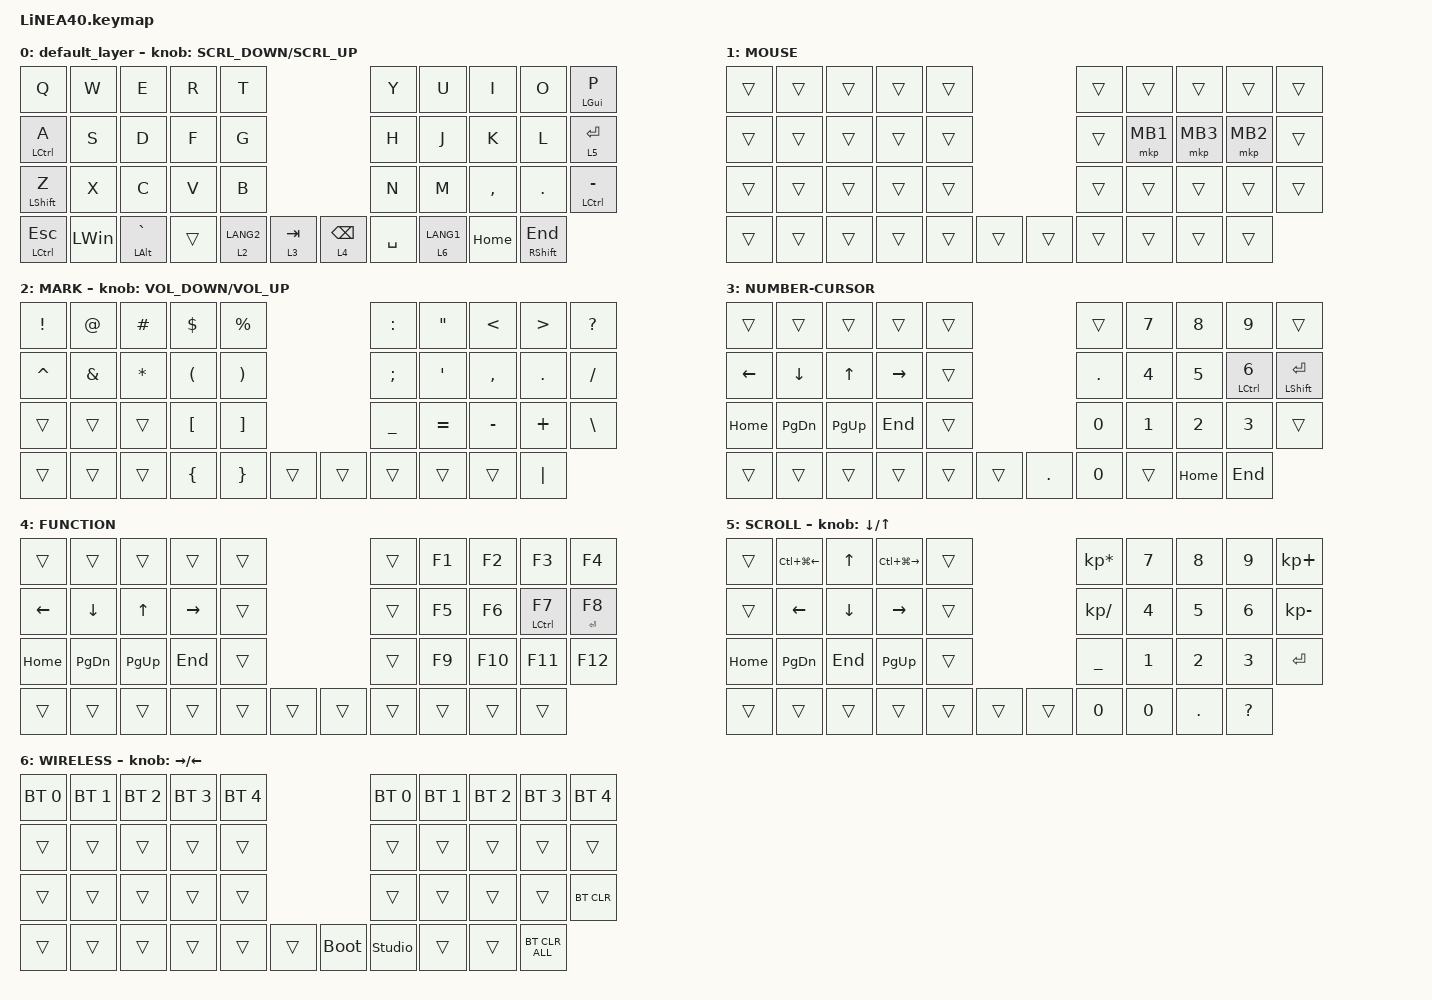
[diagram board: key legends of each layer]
#define ZMK_POINTING_DEFAULT_SCRL_VAL 150

#include <dt-bindings/zmk/input_transform.h>
#include <input/processors.dtsi>
#include <zephyr/dt-bindings/input/input-event-codes.h>
#include <behaviors.dtsi>
#include <dt-bindings/zmk/bt.h>
#include <dt-bindings/zmk/keys.h>
#include <dt-bindings/zmk/pointing.h>

#define MOUSE 1
#define MARK 2
#define CURSOR 3
#define FUNCTION 4
#define SCROLL 5
#define WIRELESS 6

//mouse cursol

&mmv {
    delay-ms = <20>;
    trigger-period-ms = <5>;
    time-to-max-speed-ms = <100>;
    acceleration-exponent = <2>;
};

//mouse scroll

&msc {
    delay-ms = <3>;
    trigger-period-ms = <3>;
    time-to-max-speed-ms = <100>;
    acceleration-exponent = <0>;
};

/ {
    input_processors {
        zip_wheel_scaler: zip_wheel_scaler {
            compatible = "zmk,input-processor-scaler";
            #input-processor-cells = <2>;
            type = <INPUT_EV_REL>;
            codes = <INPUT_REL_WHEEL>;
            track-remainders;
        };
    };
};

&msc_input_listener {
    speed_up {
        layers = <FUNCTION>;
        input-processors = <&zip_wheel_scaler 3 1>; //スクロールを3倍速にする
    };
};

&trackball_listener {
    scroller {
        layers = <SCROLL>;
        input-processors =
            <&zip_xy_transform INPUT_TRANSFORM_Y_INVERT>,
            //スクロール方向を逆転,,,,,,,,,,,,,,,
            <&zip_xy_to_scroll_mapper>;
    };
};

/ {
    combos {
        compatible = "zmk,combos";

        DeleteKey {
            bindings = <&kp DEL>;
            key-positions = <7 8>;
        };

        InsertKey {
            bindings = <&kp INS>;
            key-positions = <6 7>;
        };

        LeftClick {
            bindings = <&mkp MB1>;
            key-positions = <17 16>;
        };

        RightClick {
            bindings = <&mkp MB2>;
            key-positions = <18 17>;
        };

        CenterClick {
            bindings = <&mkp MB3>;
            key-positions = <16 18>;
        };

        Zenkaku {
            bindings = <&kp LANGUAGE_2>;
            key-positions = <12 11>;
        };

        Hankaku {
            bindings = <&kp LANGUAGE_1>;
            key-positions = <12 13>;
        };

        Escape {
            bindings = <&kp ESCAPE>;
            key-positions = <0 1>;
        };
    };

    behaviors {
        re_kp: sensor_rotate_kp {
            compatible = "zmk,behavior-sensor-rotate-var";
            #sensor-binding-cells = <2>;
            bindings = <&kp>, <&kp>;
        };

        mouse_scrl: mouse_wheel_scrl {
            compatible = "zmk,behavior-sensor-rotate-var";
            #sensor-binding-cells = <2>;
            bindings = <&msc>, <&msc>;

            tap-ms = <20>;
        };

        kakko: kakko {
            compatible = "zmk,behavior-hold-tap";
            label = "KAKKO";
            bindings = <&macreoKakko>, <&kp>;

            #binding-cells = <2>;
            tapping-term-ms = <300>;
        };

        singleQuote: singleQuote {
            compatible = "zmk,behavior-hold-tap";
            label = "SINGLEQUOTE";
            bindings = <&macroSingleQuote>, <&kp>;

            #binding-cells = <2>;
            tapping-term-ms = <300>;
        };

        doubleQuote: doubleQuote {
            compatible = "zmk,behavior-hold-tap";
            label = "DOUBLEQUOTE";
            bindings = <&macroDoubleQuote>, <&kp>;

            #binding-cells = <2>;
            tapping-term-ms = <300>;
        };
    };

    macros {
        macreoKakko: macreoKakko {
            compatible = "zmk,behavior-macro";
            #binding-cells = <0>;
            bindings = <&kp LEFT_PARENTHESIS &kp RIGHT_PARENTHESIS &kp LEFT>;
            label = "MACREOKAKKO";
        };

        macroSingleQuote: macroSingleQuote {
            compatible = "zmk,behavior-macro";
            #binding-cells = <0>;
            bindings = <&kp SINGLE_QUOTE &kp SINGLE_QUOTE &kp LEFT>;
            label = "MACROSINGLEQUOTE";
        };

        macroDoubleQuote: macroDoubleQuote {
            compatible = "zmk,behavior-macro";
            #binding-cells = <0>;
            bindings = <&kp DOUBLE_QUOTES &kp DOUBLE_QUOTES &kp LEFT>;
            label = "MACRODOUBLEQUOTE";
        };
    };

    keymap {
        compatible = "zmk,keymap";

        default_layer {
            bindings = <
&kp Q          &kp W         &kp E               &kp R   &kp T                                      &kp Y      &kp U  &kp I        &kp O     &mt LEFT_GUI P
&mt LCTRL A    &kp S         &kp D               &kp F   &kp G                                      &kp H      &kp J  &kp K        &kp L     &lt 5 ENTER
&mt LSHFT Z    &kp X         &kp C               &kp V   &kp B                                      &kp N      &kp M  &kp COMMA    &kp DOT   &mt LCTRL MINUS
&mt LCTRL ESC  &kp LEFT_WIN  &mt LEFT_ALT GRAVE  &trans  &lt 2 LANG2  &lt 3 TAB    &lt 4 BACKSPACE  &kp SPACE         &lt 6 LANG1  &kp HOME  &mt RIGHT_SHIFT END
            >;

            sensor-bindings = <&mouse_scrl SCRL_DOWN SCRL_UP>;
        };

        MOUSE {
            bindings = <
&trans  &trans  &trans  &trans  &trans                    &trans  &trans    &trans    &trans    &trans
&trans  &trans  &trans  &trans  &trans                    &trans  &mkp MB1  &mkp MB3  &mkp MB2  &trans
&trans  &trans  &trans  &trans  &trans                    &trans  &trans    &trans    &trans    &trans
&trans  &trans  &trans  &trans  &trans  &trans    &trans  &trans            &trans    &trans    &trans
            >;
        };

        MARK {
            bindings = <
&kp EXCLAMATION  &kp AT    &kp HASH   &kp DOLLAR            &kp PERCENT                              &kp COLON  &kp DOUBLE_QUOTES  &kp LESS_THAN  &kp GREATER_THAN  &kp QUESTION
&kp CARET        &kp AMPS  &kp ASTRK  &kp LEFT_PARENTHESIS  &kp RIGHT_PARENTHESIS                    &kp SEMI   &kp SINGLE_QUOTE   &kp COMMA      &kp DOT           &kp SLASH
&trans           &trans    &trans     &kp LEFT_BRACKET      &kp RIGHT_BRACKET                        &kp UNDER  &kp EQUAL          &kp MINUS      &kp PLUS          &kp BACKSLASH
&trans           &trans    &trans     &kp LEFT_BRACE        &kp RIGHT_BRACE        &trans    &trans  &trans                        &trans         &trans            &kp PIPE
            >;

            sensor-bindings = <&re_kp C_VOLUME_DOWN C_VOLUME_UP>;
        };

        NUMBER-CURSOR {
            bindings = <
&trans    &trans         &trans     &trans           &trans                     &trans        &kp NUMBER_7  &kp NUMBER_8  &kp NUMBER_9        &trans
&kp LEFT  &kp DOWN       &kp UP     &kp RIGHT_ARROW  &trans                     &kp DOT       &kp NUMBER_4  &kp NUMBER_5  &mt LCTRL NUMBER_6  &mt LSHFT ENTER
&kp HOME  &kp PAGE_DOWN  &kp PG_UP  &kp END          &trans                     &kp NUMBER_0  &kp NUMBER_1  &kp NUMBER_2  &kp NUMBER_3        &trans
&trans    &trans         &trans     &trans           &trans  &trans    &kp DOT  &kp NUMBER_0                &trans        &kp HOME            &kp END
            >;
        };

        FUNCTION {
            bindings = <
&trans    &trans         &trans     &trans           &trans                    &trans  &kp F1  &kp F2   &kp F3        &kp F4
&kp LEFT  &kp DOWN       &kp UP     &kp RIGHT_ARROW  &trans                    &trans  &kp F5  &kp F6   &mt LCTRL F7  &mt ENTER F8
&kp HOME  &kp PAGE_DOWN  &kp PG_UP  &kp END          &trans                    &trans  &kp F9  &kp F10  &kp F11       &kp F12
&trans    &trans         &trans     &trans           &trans  &trans    &trans  &trans          &trans   &trans        &trans
            >;
        };

        SCROLL {
            bindings = <
&trans    &kp LC(LG(LEFT_ARROW))  &kp UP_ARROW  &kp LC(LG(RIGHT_ARROW))  &trans                    &kp KP_MULTIPLY  &kp NUMBER_7  &kp NUMBER_8  &kp NUMBER_9  &kp KP_PLUS
&trans    &kp LEFT_ARROW          &kp DOWN      &kp RIGHT_ARROW          &trans                    &kp KP_SLASH     &kp NUMBER_4  &kp NUMBER_5  &kp NUMBER_6  &kp KP_MINUS
&kp HOME  &kp PAGE_DOWN           &kp END       &kp PAGE_UP              &trans                    &kp UNDER        &kp NUMBER_1  &kp NUMBER_2  &kp NUMBER_3  &kp ENTER
&trans    &trans                  &trans        &trans                   &trans  &trans    &trans  &kp NUMBER_0                   &kp NUMBER_0  &kp DOT       &kp QUESTION
            >;

            sensor-bindings = <&inc_dec_kp DOWN_ARROW UP_ARROW>;
        };

        WIRELESS {
            bindings = <
&bt BT_SEL 0  &bt BT_SEL 1  &bt BT_SEL 2  &bt BT_SEL 3  &bt BT_SEL 4                         &bt BT_SEL 0    &bt BT_SEL 1  &bt BT_SEL 2  &bt BT_SEL 3  &bt BT_SEL 4
&trans        &trans        &trans        &trans        &trans                               &trans          &trans        &trans        &trans        &trans
&trans        &trans        &trans        &trans        &trans                               &trans          &trans        &trans        &trans        &bt BT_CLR
&trans        &trans        &trans        &trans        &trans        &trans    &bootloader  &studio_unlock                &trans        &trans        &bt BT_CLR_ALL
            >;

            sensor-bindings = <&inc_dec_kp RIGHT_ARROW LEFT_ARROW>;
        };
    };
};
